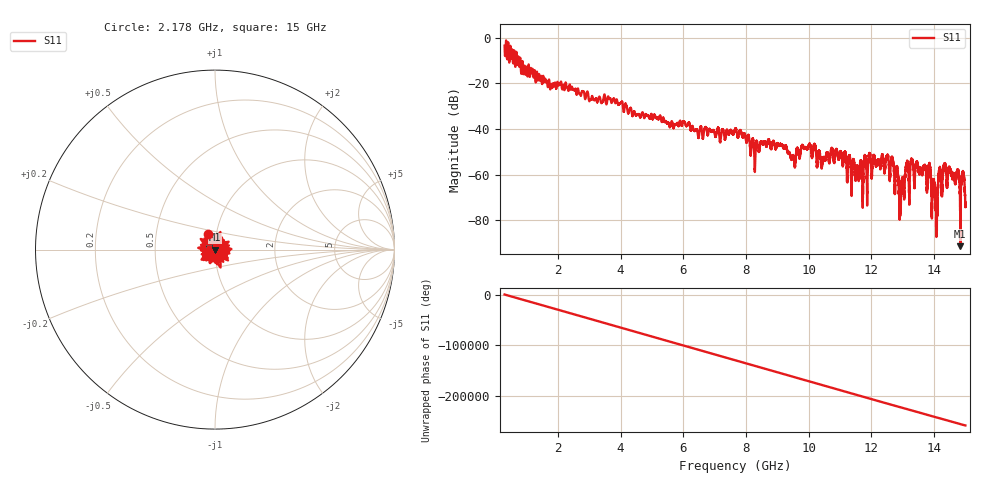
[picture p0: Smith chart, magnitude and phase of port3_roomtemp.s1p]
# GHZ S RI R 50.0
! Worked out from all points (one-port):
!   12801 points, 300 MHz to 15 GHz, reference 50 ohm
!   lowest |S11| = -91.5 dB at 14.84 GHz (marker M1), VSWR 1.00, Z = 50 - j0.0005 ohm
!   |S11| at or under -10 dB: 622.4 MHz to 659.4 MHz (36.93 MHz wide, 5.76 % of centre); 747.9 MHz to 787.8 MHz (39.85 MHz wide, 5.19 % of centre); 803.8 MHz to end of sweep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
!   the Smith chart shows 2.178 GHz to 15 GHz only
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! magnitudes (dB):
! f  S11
! 300 MHz  -3.4
! 963.8 MHz  -16.1
! 2.138 GHz  -22.6
! 3.975 GHz  -28.8
! 5.812 GHz  -37.5
! 6.445 GHz  -40.7
! 7.65 GHz  -40.2
! 8.224 GHz  -44.5
! 9.068 GHz  -47.2
! 9.488 GHz  -52.5
! 9.997 GHz  -47.3
! 10.45 GHz  -53.6
! 10.93 GHz  -51.2
! 11.32 GHz  -53.6
! 11.67 GHz  -54.3
! 11.96 GHz  -51.2
! 12.5 GHz  -51.8
! 12.67 GHz  -52.4
! 12.94 GHz  -73.1
! 13.16 GHz  -55.4
! 13.3 GHz  -53.2
! 13.85 GHz  -55.6
! 14.06 GHz  -75.6
! 14.17 GHz  -58.6
! 14.34 GHz  -55.0
! 14.84 GHz  -91.5
! 14.93 GHz  -59.4
! 15 GHz  -74.2
